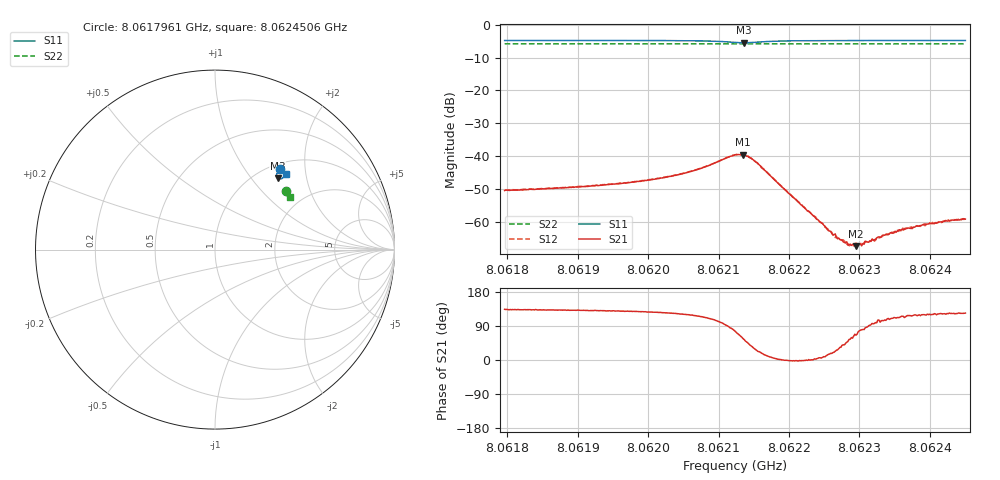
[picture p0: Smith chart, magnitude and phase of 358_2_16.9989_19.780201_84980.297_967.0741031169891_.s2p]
#  HZ  S  RI  R  50.00
! Rohde & Schwarz Vector Network Analyzer
! Rohde-Schwarz,ZNB20-2Port,1311601062101988,3.16
! Created: UTC 3/20/2024, 11:08:07 PM
! freq[Hz]  re:S11  im:S11  re:S21  im:S21  re:S12  im:S12  re:S22  im:S22
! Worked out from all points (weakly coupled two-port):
!   401 points, 8.0617961 GHz to 8.0624506 GHz, reference 50 ohm
!   highest |S21| = -39.53 dB at 8.0621348 GHz (marker M1); lowest = -67.4 dB at 8.0622952 GHz (marker M2)
!   lowest |S11| = -5.5 dB at 8.0621365 GHz (marker M3), VSWR 3.26, Z = 61.7 + j68.6 ohm
!   |S11| at or under -10 dB: nowhere
!   |S22| runs from -5.9 to -5.8 dB; largest |S21 - S12| = 0.00076
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8.06179611e9  0.364 0.4464  -0.00207 0.00216  -0.00192 0.00237  0.397 0.324
8.06190574e9  0.3715 0.4398  -0.00224 0.00258  -0.00212 0.00274  0.401 0.3186
8.0619712e9  0.3764 0.4349  -0.00247 0.00307  -0.00231 0.00322  0.4035 0.3151
8.06201538e9  0.38 0.4302  -0.00265 0.0037  -0.00246 0.00388  0.405 0.3129
8.06206774e9  0.3845 0.4199  -0.00278 0.00549  -0.00246 0.00569  0.4069 0.3099
8.06212337e9  0.3662 0.3943  0.00248 0.0102  0.00321 0.00996  0.4078 0.3062
8.06213483e9  0.3518 0.3978  0.00585 0.00879  0.0063 0.00847  0.4075 0.3061
8.06213646e9  0.3498 0.3994  0.00607 0.00832  0.00671 0.008  0.4075 0.3062
8.06214628e9  0.3436 0.4107  0.00734 0.00556  0.00776 0.00522  0.4078 0.3064
8.0621561e9  0.3443 0.4219  0.00703 0.00292  0.00727 0.00263  0.4083 0.3064
8.062233e9  0.3723 0.4348  0.00127 6.14e-06  0.00131 -2.71e-05  0.4123 0.3028
8.06226573e9  0.3775 0.4325  0.000603 0.000255  0.00054 0.000199  0.4136 0.3013
8.06227718e9  0.379 0.4318  0.00038 0.000319  0.000419 0.000324  0.414 0.3005
8.06228536e9  0.3798 0.4313  0.00026 0.000365  0.000281 0.00033  0.4143 0.3002
8.06229027e9  0.3804 0.4309  0.000242 0.000384  0.000253 0.000342  0.4144 0.2998
8.06229518e9  0.3809 0.4308  0.000176 0.000387  0.000194 0.000433  0.4148 0.2996
8.06230336e9  0.3817 0.4302  7.62e-05 0.000423  0.000116 0.000479  0.415 0.2991
8.06234264e9  0.3852 0.4278  -0.000193 0.000624  -0.000164 0.000644  0.4163 0.2972
8.06236391e9  0.3869 0.4265  -0.000287 0.000707  -0.000301 0.000726  0.4171 0.2961
8.06239336e9  0.3891 0.4247  -0.000447 0.00081  -0.000394 0.000775  0.4181 0.2945
8.06242281e9  0.3911 0.4231  -0.000537 0.0009  -0.000503 0.000876  0.4193 0.2929
8.06245063e9  0.393 0.4214  -0.000611 0.000913  -0.000518 0.000985  0.4202 0.2914
